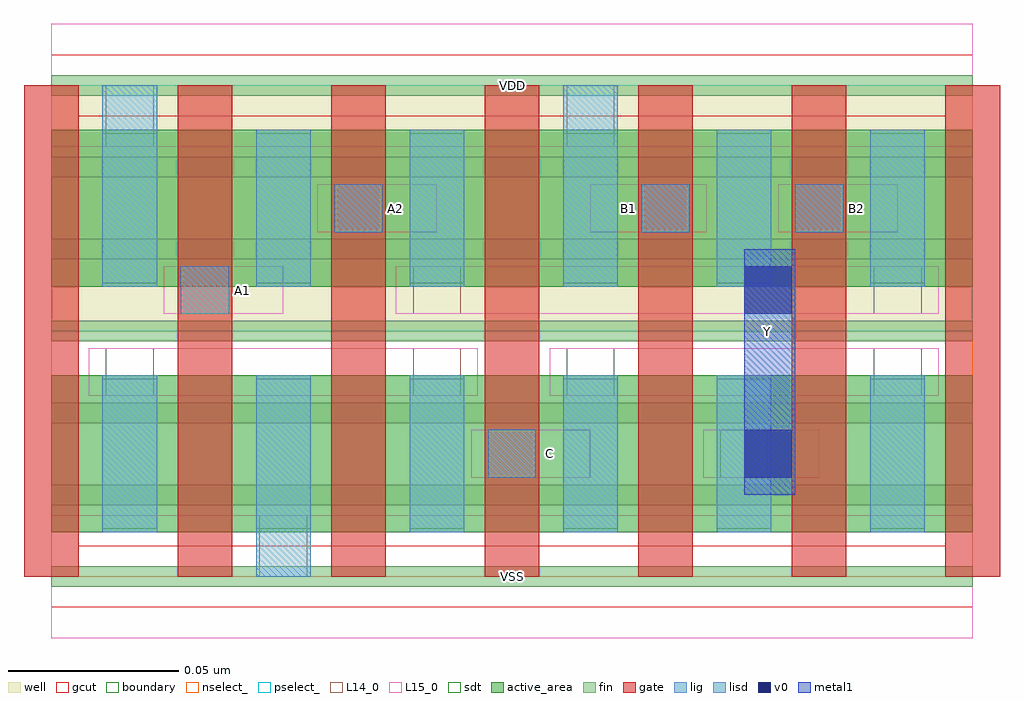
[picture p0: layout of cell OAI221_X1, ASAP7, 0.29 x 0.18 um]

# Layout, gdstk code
import gdstk
lib = gdstk.Library(unit=1e-6, precision=1e-09)
def R(c, l, rs):  # rectangles x0, y0, x1, y1
    for r in rs: c.add(gdstk.rectangle(r[:2], r[2:], *l))
def A(c, l, x, y, w, h, nx, ny, dx, dy):  # array of equal rectangles
    R(c, l, [(x+i*dx, y+j*dy, x+i*dx+w, y+j*dy+h) for i in range(nx) for j in range(ny)])
def P(c, l, *ps):  # polygons
    for p in ps: c.add(gdstk.Polygon(p, *l))
well = (1, 0)
fin = (2, 0)
gate = (7, 0)
gcut = (10, 0)
active_area = (11, 0)
nselect_ = (12, 0)
pselect_ = (13, 0)
L14_0 = (14, 0)
L15_0 = (15, 0)
lig = (16, 0)
lisd = (17, 0)
v0 = (18, 0)
metal1 = (19, 0)
sdt = (88, 0)
boundary = (100, 0)

oai221_x1 = lib.new_cell('OAI221_X1')
R(oai221_x1, well, [(0,0.072,0.27,0.144)])
A(oai221_x1, fin, 0, -0.003, 0.27, 0.006, 1, 7, 0, 0.024)
A(oai221_x1, gate, -0.008, 0, 0.016, 0.144, 7, 1, 0.045, 0)
P(oai221_x1, gcut, [(0,-0.009),(0,0),(-0.008,0),(-0.008,0.135),(0.008,0.135),(0.008,0.009),(0.262,0.009),(0.262,0.135),(-0.008,0.135),(-0.008,0.144),(0,0.144),(0,0.153),(0.27,0.153),(0.27,0.144),(0.278,0.144),(0.278,0),(0.27,0),(0.27,-0.009)])
R(oai221_x1, active_area, [(0,0.013,0.27,0.059), (0,0.085,0.27,0.131)])
R(oai221_x1, nselect_, [(0,0,0.27,0.072)])
R(oai221_x1, pselect_, [(0,0.072,0.27,0.144)])
R(oai221_x1, L14_0, [(0.061,0,0.075,0.018), (0.128,0.029,0.142,0.043), (0.196,0.029,0.21,0.043), (0.016,0.053,0.03,0.067), (0.106,0.053,0.12,0.067), (0.151,0.053,0.165,0.067), (0.241,0.053,0.255,0.067), (0.038,0.077,0.052,0.091), (0.106,0.077,0.12,0.091), (0.241,0.077,0.255,0.091), (0.083,0.101,0.097,0.115), (0.173,0.101,0.187,0.115), (0.218,0.101,0.232,0.115), (0.016,0.126,0.03,0.144), (0.151,0.126,0.165,0.144)])
R(oai221_x1, L15_0, [(0,-0.018,0.27,0.018), (0.123,0.029,0.158,0.043), (0.191,0.029,0.225,0.043), (0.011,0.053,0.125,0.067), (0.146,0.053,0.26,0.067), (0.033,0.077,0.068,0.091), (0.101,0.077,0.26,0.091), (0.078,0.101,0.113,0.115), (0.158,0.101,0.192,0.115), (0.213,0.101,0.248,0.115), (0,0.126,0.27,0.162)])
R(oai221_x1, lig, [(0.128,0.029,0.142,0.043), (0.038,0.077,0.052,0.091), (0.083,0.101,0.097,0.115), (0.173,0.101,0.187,0.115), (0.218,0.101,0.232,0.115)])
A(oai221_x1, lisd, 0.105, 0.013, 0.016, 0.046, 4, 1, 0.045, 0)
R(oai221_x1, lisd, [(0.06,0,0.076,0.059), (0.015,0.013,0.031,0.059), (0.015,0.085,0.031,0.144), (0.06,0.085,0.076,0.131), (0.105,0.085,0.121,0.131), (0.15,0.085,0.166,0.144), (0.195,0.085,0.211,0.131), (0.24,0.085,0.256,0.131)])
R(oai221_x1, v0, [(0.203,0.029,0.217,0.043), (0.203,0.077,0.217,0.091)])
R(oai221_x1, metal1, [(0.203,0.024,0.218,0.096)])
A(oai221_x1, sdt, 0.015, 0.014, 0.016, 0.044, 6, 2, 0.045, 0.072)
R(oai221_x1, boundary, [(0,0,0.27,0.144)])
oai221_x1.add(gdstk.Label('B1', (0.169,0.108), layer=15, texttype=251))
oai221_x1.add(gdstk.Label('VSS', (0.135,0), layer=15, texttype=251))
oai221_x1.add(gdstk.Label('VDD', (0.135,0.144), layer=15, texttype=251))
oai221_x1.add(gdstk.Label('B2', (0.236,0.108), layer=15, texttype=251))
oai221_x1.add(gdstk.Label('VSS', (0.135,0), layer=15, texttype=251))
oai221_x1.add(gdstk.Label('VDD', (0.135,0.144), layer=15, texttype=251))
oai221_x1.add(gdstk.Label('A1', (0.056,0.084), layer=15, texttype=251))
oai221_x1.add(gdstk.Label('VSS', (0.135,0), layer=15, texttype=251))
oai221_x1.add(gdstk.Label('VDD', (0.135,0.144), layer=15, texttype=251))
oai221_x1.add(gdstk.Label('C', (0.146,0.036), layer=15, texttype=251))
oai221_x1.add(gdstk.Label('VSS', (0.135,0), layer=15, texttype=251))
oai221_x1.add(gdstk.Label('VDD', (0.135,0.144), layer=15, texttype=251))
oai221_x1.add(gdstk.Label('VSS', (0.135,0), layer=15, texttype=251))
oai221_x1.add(gdstk.Label('VDD', (0.135,0.144), layer=15, texttype=251))
oai221_x1.add(gdstk.Label('A2', (0.101,0.108), layer=15, texttype=251))
oai221_x1.add(gdstk.Label('VSS', (0.135,0), layer=15, texttype=251))
oai221_x1.add(gdstk.Label('VDD', (0.135,0.144), layer=15, texttype=251))
oai221_x1.add(gdstk.Label('VSS', (0.135,0), layer=3, texttype=251))
oai221_x1.add(gdstk.Label('VSS', (0.135,0), layer=3, texttype=251))
oai221_x1.add(gdstk.Label('VSS', (0.135,0), layer=3, texttype=251))
oai221_x1.add(gdstk.Label('VSS', (0.135,0), layer=3, texttype=251))
oai221_x1.add(gdstk.Label('VSS', (0.135,0), layer=3, texttype=251))
oai221_x1.add(gdstk.Label('VSS', (0.135,0), layer=3, texttype=251))
oai221_x1.add(gdstk.Label('VDD', (0.135,0.144), layer=1, texttype=251))
oai221_x1.add(gdstk.Label('VDD', (0.135,0.144), layer=1, texttype=251))
oai221_x1.add(gdstk.Label('VDD', (0.135,0.144), layer=1, texttype=251))
oai221_x1.add(gdstk.Label('VDD', (0.135,0.144), layer=1, texttype=251))
oai221_x1.add(gdstk.Label('VDD', (0.135,0.144), layer=1, texttype=251))
oai221_x1.add(gdstk.Label('VDD', (0.135,0.144), layer=1, texttype=251))
oai221_x1.add(gdstk.Label('Y', (0.21,0.072), layer=19, texttype=251))

lib.write_gds('OAI221_X1.gds')
